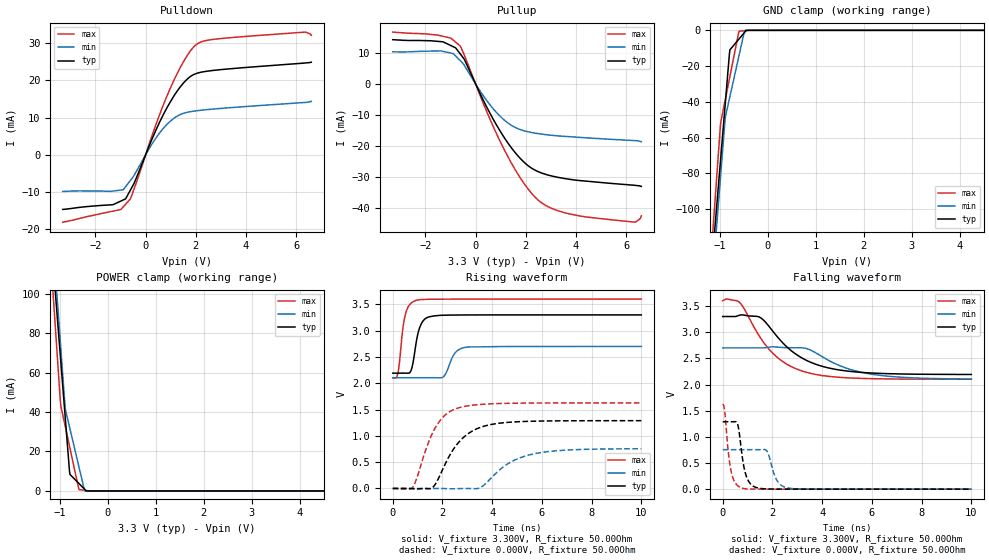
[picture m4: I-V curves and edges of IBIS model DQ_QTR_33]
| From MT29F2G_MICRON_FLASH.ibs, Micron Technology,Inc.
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|   MODEL DQ_QTR_33
[Model]   DQ_QTR_33
Model_type   I/O
Vinl = 660mV
Vinh = 2.640V
Vmeas = 1.650V
Cref = 50.000pF
|   typ   min   max
C_comp   3.35pF   2.89pF   3.89pF
[Model Spec]
| Input threshold voltage corners
Vinl   0.660V   0.540V   0.72V
Vinh   2.640V   2.160V   2.880V
| Measurement voltage corners
Vmeas   1.650V   1.3500V   1.800V
[Voltage Range]   3.300V   2.700V   3.600V
| Junction Temperature (Ambient temp is 25C typ, 70C min, 0C max)
[Temperature Range]   40   85   0
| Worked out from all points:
|   slope of the pulldown table from 0 to 0.495 V, typ, clamps not added: 62.8 ohm
|   slope of the pullup table from 0 to 0.495 V, typ, clamps not added: 60 ohm
|   GND clamp passes 1 mA (typ) near -0.48 V on its own axis
|   POWER clamp passes 1 mA (typ) near -0.49 V on its own axis
|   falling waveform, V_fixture 3.300V, R_fixture 50.00Ohm: 20-80 % time 1.68ns typ, 1.85ns min, 1.51ns max; typ from 3.3 V to 2.19 V
|   rising waveform, V_fixture 3.300V, R_fixture 50.00Ohm: 20-80 % time 275ps typ, 342ps min, 235ps max; typ from 2.19 V to 3.3 V
|   rising waveform, V_fixture 0.000V, R_fixture 50.00Ohm: 20-80 % time 1.1ns typ, 1.39ns min, 863ps max; typ from 0.001 V to 1.29 V
|   falling waveform, V_fixture 0.000V, R_fixture 50.00Ohm: 20-80 % time 264ps typ, 324ps min, 228ps max; typ from 1.29 V to 0.001 V
[Pulldown]
|   Voltage   I(typ)   I(min)   I(max)
-3.3V     -14.66mA   -9.822mA   -18.07mA
-1.3V     -13.38mA   -9.717mA   -15.1mA
-890mV    -12.1mA    -9.371mA   -13.97mA
-610mV    -9.524mA   -6.913mA   -11.87mA
390mV     6.308mA    4.309mA    7.724mA
930mV     13.6mA     8.701mA    17.05mA
1.55V     19.6mA     11.24mA    25.49mA
2.07V     21.95mA    11.88mA    29.86mA
2.65V     22.64mA    12.28mA    30.97mA
4.36V     23.66mA    13.15mA    31.99mA
6.36V     24.67mA    14.08mA    32.96mA
6.6V      24.87mA    14.35mA    32.11mA
[GND Clamp]
|   Voltage   I(typ)   I(min)   I(max)
-3.3V     -1.02A     -968.1mA   -1.029A
-1.29V    -170.5mA   -185.3mA   -166.4mA
-990mV    -73.97mA   -83.33mA   -53.72mA
-980mV    -70.75mA   -79.93mA   -51.23mA
-890mV    -41.78mA   -49.33mA   -39.1mA
-800mV    -12.8mA    -38.12mA   -26.98mA
-790mV    -10.89mA   -36.91mA   -25.63mA
-600mV    -4.819mA   -13.99mA   -500.7uA
-490mV    -1.301mA   -718.2uA   -239.5uA
-480mV    -981.6uA   -27.25uA   -215.8uA
-440mV    -3.59uA    -11.02uA   -120.8uA
6.6V      0A         0A         0A
[Pullup]
|   Voltage   I(typ)   I(min)   I(max)
-3.3V     14.23mA    10.32mA    16.67mA
-1.3V     13.54mA    10.48mA    15.33mA
-890mV    11.97mA    9.753mA    14.09mA
-610mV    9.639mA    7.465mA    12.19mA
-450mV    7.941mA    5.981mA    9.254mA
390mV     -6.573mA   -4.754mA   -7.857mA
1.06V     -16.22mA   -11.02mA   -19.8mA
1.88V     -24.78mA   -14.94mA   -31.43mA
2.65V     -28.7mA    -16.16mA   -38.36mA
4.36V     -31.23mA   -17.31mA   -42.73mA
6.36V     -32.63mA   -18.24mA   -44.46mA
6.6V      -32.95mA   -18.56mA   -42.4mA
[POWER Clamp]
|   Voltage   I(typ)   I(min)   I(max)
-3.3V     985.4mA    938.8mA    1.03A
-1.29V    160.6mA    175.6mA    153.6mA
-990mV    68.5mA     75.55mA    45.41mA
-980mV    65.43mA    72.21mA    43.11mA
-890mV    37.8mA     42.2mA     32.96mA
-800mV    10.16mA    32.55mA    22.82mA
-790mV    8.371mA    31.52mA    21.69mA
-600mV    3.706mA    11.95mA    663.7uA
-490mV    1.006mA    609.7uA    317.2uA
-480mV    760.1uA    19.78uA    285.7uA
-440mV    8.845uA    8.23uA     159.8uA
6.6V      0A         0A         0A
[Ramp]
R_load = 50.00Ohm
|   typ   min   max
dV/dt_r   772.625mV/1.096ns   452.813mV/1.387ns   975.591mV/862.370ps
dV/dt_f   664.416mV/1.679ns   357.123mV/1.848ns   899.536mV/1.506ns
[Falling Waveform]
V_fixture = 3.300V
V_fixture_min = 2.700V
V_fixture_max = 3.600V
R_fixture = 50.00Ohm
|   Time   V(typ)   V(min)   V(max)
0s        3.299V     2.7V       3.6V
200ps     3.299V     2.7V       3.633V
690ps     3.326V     2.7V       3.564V
1.48ns    3.287V     2.7V       2.919V
2.21ns    2.905V     2.715V     2.513V
2.71ns    2.665V     2.702V     2.354V
3.25ns    2.49V      2.698V     2.249V
4.27ns    2.315V     2.459V     2.156V
5.74ns    2.226V     2.218V     2.115V
10ns      2.192V     2.105V     2.101V
[Rising Waveform]
V_fixture = 3.300V
V_fixture_min = 2.700V
V_fixture_max = 3.600V
R_fixture = 50.00Ohm
|   Time   V(typ)   V(min)   V(max)
0s        2.192V     2.105V     2.101V
210ps     2.192V     2.105V     2.194V
530ps     2.192V     2.105V     3.341V
750ps     2.259V     2.105V     3.525V
930ps     2.731V     2.105V     3.573V
1.2ns     3.17V      2.105V     3.592V
1.69ns    3.281V     2.105V     3.597V
2.05ns    3.293V     2.128V     3.598V
2.98ns    3.298V     2.686V     3.599V
10ns      3.299V     2.7V       3.6V
[Rising Waveform]
V_fixture = 0.000V
V_fixture_min = 0.000V
V_fixture_max = 0.000V
R_fixture = 50.00Ohm
|   Time   V(typ)   V(min)   V(max)
0s        578.7uV    -22.44uV   -87.97uV
800ps     -4.82mV    -20.25uV   20.45mV
1.58ns    9.067mV    -23.96uV   1.032V
2.01ns    361.3mV    -1.09mV    1.35V
2.61ns    851.7mV    -3.753mV   1.527V
3.52ns    1.16V      15.87mV    1.597V
4.61ns    1.255V     462.3mV    1.618V
5.58ns    1.277V     647.6mV    1.623V
7.08ns    1.286V     731.8mV    1.625V
10ns      1.288V     754.7mV    1.626V
[Falling Waveform]
V_fixture = 0.000V
V_fixture_min = 0.000V
V_fixture_max = 0.000V
R_fixture = 50.00Ohm
|   Time   V(typ)   V(min)   V(max)
0s        1.288V     754.7mV    1.626V
80ps      1.288V     754.7mV    1.488V
340ps     1.288V     754.7mV    336.6mV
600ps     1.242V     754.7mV    67.72mV
760ps     712.6mV    754.7mV    22.05mV
1.01ns    178.6mV    754.7mV    3.744mV
1.5ns     15.55mV    754mV      881.4uV
2.23ns    1.775mV    133.8mV    318uV
2.68ns    1.257mV    17.2mV     166.8uV
10ns      578.7uV    -22.44uV   -87.97uV
